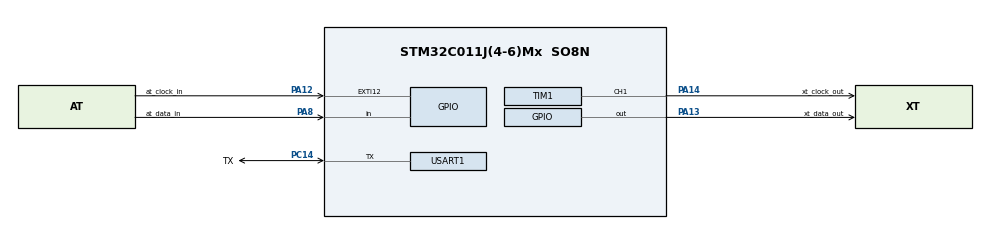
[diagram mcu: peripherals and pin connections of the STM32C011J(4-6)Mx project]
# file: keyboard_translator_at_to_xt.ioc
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Mcu.Family=STM32C0
Mcu.Name=STM32C011J(4-6)Mx
Mcu.Package=SO8N
NVIC.EXTI4_15_IRQn=true\:0\:0\:false\:false\:true\:true\:true\:true
NVIC.FLASH_IRQn=true\:0\:0\:false\:false\:true\:true\:true\:true
NVIC.RTC_IRQn=true\:0\:0\:false\:false\:true\:true\:true\:true
NVIC.TIM16_IRQn=true\:0\:0\:false\:false\:true\:true\:true\:true
NVIC.TIM17_IRQn=true\:0\:0\:false\:false\:true\:true\:true\:true
NVIC.TIM1_BRK_UP_TRG_COM_IRQn=true\:0\:0\:false\:false\:true\:true\:true\:true
NVIC.TIM1_CC_IRQn=true\:0\:0\:false\:false\:true\:true\:true\:true
NVIC.USART1_IRQn=true\:0\:0\:false\:false\:true\:true\:true\:true
PA12\ [PA10].GPIO_Label=at_clock_in
PA12\ [PA10].GPIO_ModeDefaultEXTI=GPIO_MODE_IT_FALLING
PA12\ [PA10].GPIO_PuPd=GPIO_PULLDOWN
PA12\ [PA10].Signal=GPXTI12
PA13.GPIO_Label=xt_data_out
PA13.GPIO_ModeDefaultOutputPP=GPIO_MODE_OUTPUT_PP
PA13.GPIO_PuPd=GPIO_NOPULL
PA13.GPIO_Speed=GPIO_SPEED_FREQ_VERY_HIGH
PA13.Signal=GPIO_Output
PA14-BOOT0.GPIO_Label=xt_clock_out
PA14-BOOT0.GPIO_ModeDefaultPP=GPIO_MODE_AF_OD
PA14-BOOT0.GPIO_PuPd=GPIO_PULLUP
PA14-BOOT0.GPIO_Speed=GPIO_SPEED_FREQ_VERY_HIGH
PA14-BOOT0.Signal=S_TIM1_CH1
PA8.GPIO_Label=at_data_in
PA8.Signal=GPIO_Input
PA8__PA11\ [PA9].StandardMode=true
PC14-OSCX_IN\ (PC14).GPIO_Label=TX
PC14-OSCX_IN\ (PC14).GPIO_ModeDefaultPP=GPIO_MODE_AF_OD
PC14-OSCX_IN\ (PC14).GPIO_PuPd=GPIO_NOPULL
PC14-OSCX_IN\ (PC14).Mode=Half_duplex(single_wire_mode)
PC14-OSCX_IN\ (PC14).Signal=USART1_TX
PC14-OSCX_IN\ (PC14)__PB7.StandardMode=true
PC15-OSCX_OUT\ (PC15)__PA14-BOOT0__PB6.StandardMode=true
PF2-NRST__PA0__PA1__PA2.StandardMode=true
ProjectManager.HeapSize=0x200
ProjectManager.StackSize=0x400
ProjectManager.TargetToolchain=STM32CubeIDE
RCC.ADCFreq_Value=48000000
RCC.AHBFreq_Value=48000000
RCC.CortexFreq_Value=48000000
RCC.EXTERNAL_CLOCK_VALUE=12288000
RCC.HCLKFreq_Value=48000000
RCC.HSE_VALUE=8000000
RCC.HSISYSCLKDivider=RCC_HSI_DIV1
RCC.HSI_VALUE=48000000
RCC.LSE_VALUE=32768
RCC.SYSCLKFreq_VALUE=48000000
RTC.Alarm=RTC_ALARM_A
SH.S_TIM1_CH1.0=TIM1_CH1,PWM Generation1 CH1
TIM1.AutoReloadPreload=TIM_AUTORELOAD_PRELOAD_ENABLE
TIM1.Channel-PWM\ Generation1\ CH1=TIM_CHANNEL_1
TIM1.OCIdleState_1=TIM_OCIDLESTATE_SET
TIM1.OCPolarity_1=TIM_OCPOLARITY_HIGH
TIM1.Period=79
TIM1.Prescaler=47
TIM1.Pulse-PWM\ Generation1\ CH1=40
TIM1.RepetitionCounter=10
TIM16.AutoReloadPreload=TIM_AUTORELOAD_PRELOAD_DISABLE
TIM16.Period=79
TIM16.Prescaler=47
TIM16.RepetitionCounter=0
TIM17.Channel=TIM_CHANNEL_1
TIM17.Prescaler=47
USART1.BaudRate=1200
USART1.VirtualMode-Half_duplex(single_wire_mode)=VM_ASYNC
VP_RTC_VS_RTC_Activate.Mode=RTC_Enabled
VP_RTC_VS_RTC_Alarm_A_Intern.Mode=Alarm A
VP_RTC_VS_RTC_Calendar.Mode=RTC_Calendar
VP_TIM16_VS_ClockSourceINT.Mode=Enable_Timer
VP_TIM17_VS_ClockSourceINT.Mode=Enable_Timer
VP_TIM17_VS_no_output1.Mode=Output Compare1 No Output
VP_TIM1_VS_ClockSourceINT.Mode=Internal
VP_TIM1_VS_ClockSourceITR.Mode=TriggerSource_ITR0
VP_TIM1_VS_OPM.Mode=OPM_bit
board=custom

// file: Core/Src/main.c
/* USER CODE BEGIN Header */
/**
  ******************************************************************************
  * @file           : main.c
  * @brief          : Main program body
  ******************************************************************************
  * @attention
  *
  * Copyright (c) 2025 STMicroelectronics.
  * All rights reserved.
  *
  * This software is licensed under terms that can be found in the LICENSE file
  * in the root directory of this software component.
  * If no LICENSE file comes with this software, it is provided AS-IS.
  *
  ******************************************************************************
  Normal current sleep consumption (sleeping) = 110uA
  The battery CR2032 (220mAh) will work for 80days (2000 hours)

  STM32C011J6Mx works from 1.7V up to 3.6V
  connections
  GND---ntc10k--PA8(ntc)--res20k-----PA13(alim_ntc)
  PA12(memory_print)--switch---VDD
  PC14(TX)-->UART TX 1200BPS
  PC15--SWDCLK
  PC13--SWDIO
  PF2 --RESET
  PIN2--VDD
  PIN3--VSS GND
  Don't need external Crystal. It uses the internal RC.
  This schematics should consider 2 capacitors 0.1uF and 10uf between GND and VDD near the chip
  and 1uF on Reset Port NRST
  When press the switch send the latest 240(max) readings to UART TX 1200bps and clean the buffer
  You can configure the interval between readings from 1 to 60 minutes on main.h
  "#define SLEEP_TIME 60  //how many minutes between measures"
  The readings are stored on internal RAM, then if you turn off the batteries,
  will lost the measures.

  ******************************************************************************
  ******************************************************************************
  ******************************************************************************
  ******************************************************************************
  */
/* USER CODE END Header */
#include "main.h"
#include "rtc.h"
#include "tim.h"
#include "usart.h"
#include "gpio.h"

/* USER CODE BEGIN Includes */

#include "stdio.h"
#include "math.h"
#include "stm32c0xx_ll_bus.h"
#include "stm32c0xx_hal.h"
#include "stm32c0xx_it.h"
#include "string.h"
#include "fifo.h"
#include "flash_read_write.h"
#include "special.h"

/* USER CODE END Includes */

/* USER CODE BEGIN PTD */

// QUEUE DEFINITION
 //fifo to TCP
fifo_queue q;
queue_item item;

/* USER CODE END PTD */

/* USER CODE BEGIN PD */
//VARIABLE FOR AD CONVERSION
uint16_t ad_value =0;
uint32_t qty_of_samples=1;

// Estado do parser Set 2
uint8_t ps2_ext = 0;       // 0=normal, 1=E0 ativo, 2+=E1 sequência
uint8_t ps2_break_next = 0; // se 1, próximo byte é break
uint8_t ps2_e1_swallow = 0; // conta bytes para descartar após E1 (opcional)
uint8_t tim16_left = 0;
extern const uint8_t set2_to_set1[256];

uint8_t xt_tx_busy = 0;
uint8_t xt_tx_byte = 0;
uint8_t xt_tx_par = 0;   // paridade ímpar
uint8_t xt_bit_idx = 0;  // 0..10

/* USER CODE END PD */

/* USER CODE BEGIN PV */
relay_st relay;
relay_st relay_on_off(uint8_t control);

flash_st flash_variable;
volatile uint8_t it_ready=ON;
/* USER CODE END PV */

void SystemClock_Config(void);

/* USER CODE BEGIN 0 */
typedef struct AdcValues{
  uint16_t Raw[2]; /* Raw values from ADC */
  double IntSensTmp; /* Temperature */
}adcval_t;
adcval_t Adc;
flag_t Flg = {0, };

uint32_t minutos_atual=0;

//redirect the printf to usart1
int _write(int file, char *ptr, int len) {
    for (int i = 0; i < len; i++) {
        while (!LL_USART_IsActiveFlag_TXE(USART1));  // Espera o buffer ficar vazio
        LL_USART_TransmitData8(USART1, ptr[i]);  // Envia um caractere
    }
    while (!LL_USART_IsActiveFlag_TC(USART1));  // Espera a transmissão terminar
    return len;
}

/* USER CODE END 0 */

int main(void)
{

  /* MCU Configuration--------------------------------------------------------*/

  /* Reset of all peripherals, Initializes the Flash interface and the Systick. */
  HAL_Init();

  /* USER CODE BEGIN Init */
  init_queue(&q);
  /* USER CODE END Init */

  /* Configure the system clock */
  SystemClock_Config();

  /* Initialize all configured peripherals */
  MX_GPIO_Init();
  MX_USART1_UART_Init();
  MX_RTC_Init();
  MX_TIM1_Init();
  MX_TIM17_Init();
  MX_TIM16_Init();
  /* USER CODE BEGIN 2 */
  tim1_clock_transmit();
  tim16_data_transmit();
  XT_DATA_ON;
 printf("OK \n\r");
  /* USER CODE END 2 */

  /* Infinite loop */
  /* USER CODE BEGIN WHILE */
   it_ready=ON;

  while (1)
  {

 	//XT_DATA_ON;
 	 LL_mDelay(1);
 	//XT_DATA_OFF;
 	 if(!is_empty(&q)){
 	   LL_mDelay(1);
 	   dequeue(&q, &item);
 	   //printf("0x%X\n",item.data_byte);
 	   xt_send_byte(item.data_byte);
 	   delay_us16(80); //80us
 	   tim1_clock_transmit();
 	 }
	 LL_mDelay(1);

    /* USER CODE END WHILE */

  }
}

void SystemClock_Config(void)
{

  LL_FLASH_SetLatency(LL_FLASH_LATENCY_1);

  /* HSI configuration and activation */
  LL_RCC_HSI_Enable();
  while(LL_RCC_HSI_IsReady() != 1)
  {
  }

  LL_RCC_HSI_SetCalibTrimming(64);
  LL_RCC_SetHSIDiv(LL_RCC_HSI_DIV_1);
  /* LSI configuration and activation */
  LL_RCC_LSI_Enable();
  while(LL_RCC_LSI_IsReady() != 1)
  {
  }

  /* Set AHB prescaler*/
  LL_RCC_SetAHBPrescaler(LL_RCC_HCLK_DIV_1);

  /* Sysclk activation on the HSI */
  LL_RCC_SetSysClkSource(LL_RCC_SYS_CLKSOURCE_HSI);
  while(LL_RCC_GetSysClkSource() != LL_RCC_SYS_CLKSOURCE_STATUS_HSI)
  {
  }

  /* Set APB1 prescaler*/
  LL_RCC_SetAPB1Prescaler(LL_RCC_APB1_DIV_1);
  /* Update CMSIS variable (which can be updated also through SystemCoreClockUpdate function) */
  LL_SetSystemCoreClock(48000000);

   /* Update the time base */
  if (HAL_InitTick (TICK_INT_PRIORITY) != HAL_OK)
  {
    Error_Handler();
  }
}

void Error_Handler(void)
{
  __disable_irq();
  while (1)
  {
  }
}
